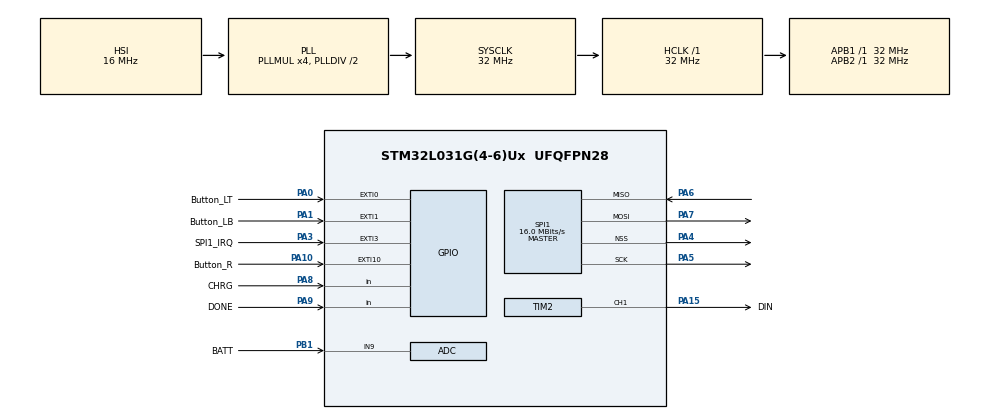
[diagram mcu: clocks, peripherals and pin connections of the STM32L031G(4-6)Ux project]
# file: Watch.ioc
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Dma.Request0=TIM2_CH1
Dma.TIM2_CH1.0.Direction=DMA_MEMORY_TO_PERIPH
Dma.TIM2_CH1.0.Instance=DMA1_Channel5
Dma.TIM2_CH1.0.MemDataAlignment=DMA_MDATAALIGN_HALFWORD
Dma.TIM2_CH1.0.MemInc=DMA_MINC_ENABLE
Dma.TIM2_CH1.0.Mode=DMA_CIRCULAR
Dma.TIM2_CH1.0.PeriphDataAlignment=DMA_PDATAALIGN_WORD
Dma.TIM2_CH1.0.PeriphInc=DMA_PINC_DISABLE
Dma.TIM2_CH1.0.Priority=DMA_PRIORITY_VERY_HIGH
Mcu.Family=STM32L0
Mcu.Name=STM32L031G(4-6)Ux
Mcu.Package=UFQFPN28
NVIC.DMA1_Channel4_5_6_7_IRQn=true\:2\:0\:true\:false\:true\:false\:true\:true
NVIC.EXTI0_1_IRQn=true\:0\:0\:false\:false\:true\:true\:true\:true
NVIC.EXTI2_3_IRQn=true\:0\:0\:false\:false\:true\:true\:true\:true
NVIC.EXTI4_15_IRQn=true\:0\:0\:false\:false\:true\:true\:true\:true
NVIC.RTC_IRQn=true\:1\:0\:true\:false\:true\:true\:true\:true
PA0-CK_IN.GPIO_Label=Button_LT
PA0-CK_IN.Signal=GPXTI0
PA1.GPIO_Label=Button_LB
PA1.Signal=GPXTI1
PA10.GPIO_Label=Button_R
PA10.Signal=GPXTI10
PA13.Mode=Serial_Wire
PA13.Signal=SYS_SWDIO
PA14.Mode=Serial_Wire
PA14.Signal=SYS_SWCLK
PA15.GPIO_Label=DIN
PA15.Signal=S_TIM2_CH1
PA3.GPIO_Label=SPI1_IRQ
PA3.Signal=GPXTI3
PA4.Mode=NSS_Signal_Hard_Output
PA4.Signal=SPI1_NSS
PA5.Mode=Full_Duplex_Master
PA5.Signal=SPI1_SCK
PA6.Mode=Full_Duplex_Master
PA6.Signal=SPI1_MISO
PA7.Mode=Full_Duplex_Master
PA7.Signal=SPI1_MOSI
PA8.GPIO_Label=CHRG
PA8.Signal=GPIO_Input
PA9.GPIO_Label=DONE
PA9.Signal=GPIO_Input
PB1.GPIO_Label=BATT
PB1.Mode=IN9
PB1.Signal=ADC_IN9
PC14-OSC32_IN.Mode=LSE-External-Oscillator
PC14-OSC32_IN.Signal=RCC_OSC32_IN
PC15-OSC32_OUT.Mode=LSE-External-Oscillator
PC15-OSC32_OUT.Signal=RCC_OSC32_OUT
ProjectManager.HeapSize=0x200
ProjectManager.StackSize=0x400
ProjectManager.TargetToolchain=STM32CubeIDE
RCC.AHBFreq_Value=32000000
RCC.APB1Freq_Value=32000000
RCC.APB1TimFreq_Value=32000000
RCC.APB2Freq_Value=32000000
RCC.APB2TimFreq_Value=32000000
RCC.HCLKFreq_Value=32000000
RCC.HSE_VALUE=8000000
RCC.HSI16_VALUE=16000000
RCC.HSI_VALUE=16000000
RCC.MSI_VALUE=2097000
RCC.PLLMUL=RCC_PLLMUL_4
RCC.RTCClockSelection=RCC_RTCCLKSOURCE_LSE
RCC.RTCClockSelectionVirtual=RCC_RTCCLKSOURCE_LSE
RCC.SYSCLKFreq_VALUE=32000000
RCC.SYSCLKSource=RCC_SYSCLKSOURCE_PLLCLK
RCC.VCOOutputFreq_Value=64000000
RTC.HourFormat=RTC_HOURFORMAT_24
RTC.WakeUpClock-WakeUp=RTC_WAKEUPCLOCK_CK_SPRE_16BITS
RTC.WakeUpCounter-WakeUp=10
SH.S_TIM2_CH1.0=TIM2_CH1,PWM Generation1 CH1
SPI1.CalculateBaudRate=16.0 MBits/s
SPI1.Direction=SPI_DIRECTION_2LINES
SPI1.Mode=SPI_MODE_MASTER
SPI1.VirtualNSS=VM_NSSHARD
SPI1.VirtualType=VM_MASTER
TIM2.AutoReloadPreload=TIM_AUTORELOAD_PRELOAD_DISABLE
TIM2.Channel-PWM\ Generation1\ CH1=TIM_CHANNEL_1
TIM2.OC1Preload_PWM=ENABLE
TIM2.OCFastMode_PWM-PWM\ Generation1\ CH1=TIM_OCFAST_ENABLE
TIM2.OCMode_PWM-PWM\ Generation1\ CH1=TIM_OCMODE_PWM1
TIM2.OCPolarity_1=TIM_OCPOLARITY_HIGH
TIM2.Period=60
TIM2.Prescaler=0
TIM2.Pulse-PWM\ Generation1\ CH1=0
VP_RTC_VS_RTC_Activate.Mode=RTC_Enabled
VP_RTC_VS_RTC_WakeUp_intern.Mode=WakeUp
VP_TIM2_VS_ClockSourceINT.Mode=Internal
board=custom

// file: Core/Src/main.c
/* USER CODE BEGIN Header */
/**
  ******************************************************************************
  * @file           : main.c
  * @brief          : Main program body
  ******************************************************************************
  * @attention
  *
  * Copyright (c) 2024 STMicroelectronics.
  * All rights reserved.
  *
  * This software is licensed under terms that can be found in the LICENSE file
  * in the root directory of this software component.
  * If no LICENSE file comes with this software, it is provided AS-IS.
  *
  ******************************************************************************
  */
/* USER CODE END Header */
#include "main.h"

/* USER CODE BEGIN Includes */
#include "Din_LED.h"
#include "stdbool.h"
/* USER CODE END Includes */

ADC_HandleTypeDef hadc;

RTC_HandleTypeDef hrtc;

SPI_HandleTypeDef hspi1;

TIM_HandleTypeDef htim2;
DMA_HandleTypeDef hdma_tim2_ch1;

/* USER CODE BEGIN PV */
#define MAX_LED 12
LEDs leds [MAX_LED + 3];
rgb_color led_pattern[MAX_LED];
rgb_color time_pattern[MAX_LED];
rgb_color all_pattern[MAX_LED];
rgb_color null_pattern[MAX_LED];
rgb_color none = {0, 0, 0, 0};
rgb_color all = {255, 255, 255, 0};
/* USER CODE END PV */

void SystemClock_Config(void);
static void MX_GPIO_Init(void);
static void MX_DMA_Init(void);
static void MX_SPI1_Init(void);
static void MX_TIM2_Init(void);
static void MX_ADC_Init(void);
static void MX_RTC_Init(void);

/* USER CODE BEGIN 0 */
uint16_t minutes = 30;
uint16_t hours = 6;
uint8_t am = 0;
uint16_t shifted_hours = 0;
uint16_t shifted_minutes = 6;
bool showingLeds = false;
bool changeTime = false;
bool toggler = false;
/* USER CODE END 0 */

int main(void)
{

  /* USER CODE BEGIN 1 */
	rgb_color hour_color = {250, 0, 0, 4};
	rgb_color minut_color = {0, 0, 250, 4};
	rgb_color red = {250, 0, 0, 4};
	rgb_color blue = {0, 0, 250, 4};
	rgb_color green = {0, 250, 0, 4};
  /* USER CODE END 1 */

  /* MCU Configuration--------------------------------------------------------*/

  /* Reset of all peripherals, Initializes the Flash interface and the Systick. */
  HAL_Init();

  /* Configure the system clock */
  SystemClock_Config();

  /* Initialize all configured peripherals */
  MX_GPIO_Init();
  MX_DMA_Init();
  MX_SPI1_Init();
  MX_TIM2_Init();
  MX_ADC_Init();
  MX_RTC_Init();
  /* USER CODE BEGIN 2 */

  for (int i = 0; i < 12; i++) {
	  led_pattern[i] = none;
	  time_pattern[i] = none;
	  null_pattern[i] = none;
	  all_pattern[i] = all;
	  if (i%3==0) {
		  led_pattern[i] = blue;
	  } else if (i%3==1) {
		  led_pattern[i] = green;
	  } else {
		  led_pattern[i] = red;
	  }
  }
  time_pattern[shifted_hours] = hour_color;
  time_pattern[shifted_minutes] = minut_color;
  //int x = 0;
  //bool isPressed = false;
  /* USER CODE END 2 */

  /* Infinite loop */
  /* USER CODE BEGIN WHILE */
  while (1)
  {

	 /* HAL_SuspendTick();
	  HAL_PWR_EnterSTOPMode(PWR_LOWPOWERREGULATOR_ON, PWR_STOPENTRY_WFI);
	  HAL_ResumeTick();
*/

	  if (showingLeds) {
		  int x = 0;
		  bool shouldExitIf = false;

		  while (HAL_GPIO_ReadPin(Button_R_GPIO_Port, Button_R_Pin)) {
			  x++;
			  if (x >= 200) {
				  changeTime = true;
				  shouldExitIf = true;
				  break;
			  }
			  HAL_Delay(10);
		  }
		  if (!shouldExitIf) {

			  if (shifted_hours==shifted_minutes) {
				  for (int i = 0; i < 5; i++) {
					  if (toggler) {
						  time_pattern[shifted_hours] = hour_color;
					  } else {
						  time_pattern[shifted_minutes] = minut_color;
					  }
					  toggler = !toggler;

					  turn_spec_LEDs(leds, time_pattern);
					  HAL_TIM_PWM_Start_DMA(&htim2, TIM_CHANNEL_1, (uint32_t *)leds, (MAX_LED * 24) + 72);
					  HAL_Delay(500);
					  turn_spec_LEDs(leds, null_pattern);
					  HAL_TIM_PWM_Start_DMA(&htim2, TIM_CHANNEL_1, (uint32_t *)leds, (MAX_LED * 24) + 72);
					  HAL_Delay(500);

					  clear_LEDs(leds, MAX_LED);
					  HAL_TIM_PWM_Start_DMA(&htim2, TIM_CHANNEL_1, (uint32_t *)leds, (MAX_LED * 24) + 72);
					  HAL_Delay(50);
				  }
			  } else {
				  time_pattern[shifted_hours] = hour_color;
				  time_pattern[shifted_minutes] = minut_color;

				  turn_spec_LEDs(leds, time_pattern);
				  HAL_TIM_PWM_Start_DMA(&htim2, TIM_CHANNEL_1, (uint32_t *)leds, (MAX_LED * 24) + 72);
				  HAL_Delay(5000);

				  turn_spec_LEDs(leds, null_pattern);
				  HAL_TIM_PWM_Start_DMA(&htim2, TIM_CHANNEL_1, (uint32_t *)leds, (MAX_LED * 24) + 72);
				  HAL_Delay(50);
			  }
		  	  showingLeds = false;
		  }
	  }

	  while(changeTime) {
		  time_pattern[shifted_hours] = hour_color;
		  time_pattern[shifted_minutes] = minut_color;
		  if (shifted_hours==shifted_minutes) {
			  if (toggler) {
				  time_pattern[shifted_hours] = hour_color;
			  } else {
				  time_pattern[shifted_minutes] = minut_color;
			  }
			  toggler = !toggler;
		  }
		  turn_spec_LEDs(leds, time_pattern);
		  HAL_TIM_PWM_Start_DMA(&htim2, TIM_CHANNEL_1, (uint32_t *)leds, (MAX_LED * 24) + 72);
		  HAL_Delay(500);
		  clear_LEDs(leds, MAX_LED);
		  HAL_TIM_PWM_Start_DMA(&htim2, TIM_CHANNEL_1, (uint32_t *)leds, (MAX_LED * 24) + 72);
		  HAL_Delay(500);
	  }

	  // Enter Stop Mode
	  __HAL_RCC_DMA1_CLK_DISABLE();
	  TIM2 ->CCR1 = 0;
	  HAL_SuspendTick();

	  HAL_PWR_EnableSleepOnExit();

	  HAL_PWR_EnterSTOPMode(PWR_LOWPOWERREGULATOR_ON, PWR_STOPENTRY_WFI);
    /* USER CODE END WHILE */

  }
}

void SystemClock_Config(void)
{
  RCC_OscInitTypeDef RCC_OscInitStruct = {0};
  RCC_ClkInitTypeDef RCC_ClkInitStruct = {0};
  RCC_PeriphCLKInitTypeDef PeriphClkInit = {0};

  /** Configure the main internal regulator output voltage
  */
  __HAL_PWR_VOLTAGESCALING_CONFIG(PWR_REGULATOR_VOLTAGE_SCALE1);

  /** Configure LSE Drive Capability
  */
  HAL_PWR_EnableBkUpAccess();
  __HAL_RCC_LSEDRIVE_CONFIG(RCC_LSEDRIVE_LOW);

  /** Initializes the RCC Oscillators according to the specified parameters
  * in the RCC_OscInitTypeDef structure.
  */
  RCC_OscInitStruct.OscillatorType = RCC_OSCILLATORTYPE_HSI|RCC_OSCILLATORTYPE_LSE;
  RCC_OscInitStruct.LSEState = RCC_LSE_ON;
  RCC_OscInitStruct.HSIState = RCC_HSI_ON;
  RCC_OscInitStruct.HSICalibrationValue = RCC_HSICALIBRATION_DEFAULT;
  RCC_OscInitStruct.PLL.PLLState = RCC_PLL_ON;
  RCC_OscInitStruct.PLL.PLLSource = RCC_PLLSOURCE_HSI;
  RCC_OscInitStruct.PLL.PLLMUL = RCC_PLLMUL_4;
  RCC_OscInitStruct.PLL.PLLDIV = RCC_PLLDIV_2;
  if (HAL_RCC_OscConfig(&RCC_OscInitStruct) != HAL_OK)
  {
    Error_Handler();
  }

  /** Initializes the CPU, AHB and APB buses clocks
  */
  RCC_ClkInitStruct.ClockType = RCC_CLOCKTYPE_HCLK|RCC_CLOCKTYPE_SYSCLK
                              |RCC_CLOCKTYPE_PCLK1|RCC_CLOCKTYPE_PCLK2;
  RCC_ClkInitStruct.SYSCLKSource = RCC_SYSCLKSOURCE_PLLCLK;
  RCC_ClkInitStruct.AHBCLKDivider = RCC_SYSCLK_DIV1;
  RCC_ClkInitStruct.APB1CLKDivider = RCC_HCLK_DIV1;
  RCC_ClkInitStruct.APB2CLKDivider = RCC_HCLK_DIV1;

  if (HAL_RCC_ClockConfig(&RCC_ClkInitStruct, FLASH_LATENCY_1) != HAL_OK)
  {
    Error_Handler();
  }
  PeriphClkInit.PeriphClockSelection = RCC_PERIPHCLK_RTC;
  PeriphClkInit.RTCClockSelection = RCC_RTCCLKSOURCE_LSE;
  if (HAL_RCCEx_PeriphCLKConfig(&PeriphClkInit) != HAL_OK)
  {
    Error_Handler();
  }
}

static void MX_ADC_Init(void)
{

  ADC_ChannelConfTypeDef sConfig = {0};

  /** Configure the global features of the ADC (Clock, Resolution, Data Alignment and number of conversion)
  */
  hadc.Instance = ADC1;
  hadc.Init.OversamplingMode = DISABLE;
  hadc.Init.ClockPrescaler = ADC_CLOCK_SYNC_PCLK_DIV2;
  hadc.Init.Resolution = ADC_RESOLUTION_12B;
  hadc.Init.SamplingTime = ADC_SAMPLETIME_1CYCLE_5;
  hadc.Init.ScanConvMode = ADC_SCAN_DIRECTION_FORWARD;
  hadc.Init.DataAlign = ADC_DATAALIGN_RIGHT;
  hadc.Init.ContinuousConvMode = DISABLE;
  hadc.Init.DiscontinuousConvMode = DISABLE;
  hadc.Init.ExternalTrigConvEdge = ADC_EXTERNALTRIGCONVEDGE_NONE;
  hadc.Init.ExternalTrigConv = ADC_SOFTWARE_START;
  hadc.Init.DMAContinuousRequests = DISABLE;
  hadc.Init.EOCSelection = ADC_EOC_SINGLE_CONV;
  hadc.Init.Overrun = ADC_OVR_DATA_PRESERVED;
  hadc.Init.LowPowerAutoWait = DISABLE;
  hadc.Init.LowPowerFrequencyMode = DISABLE;
  hadc.Init.LowPowerAutoPowerOff = DISABLE;
  if (HAL_ADC_Init(&hadc) != HAL_OK)
  {
    Error_Handler();
  }

  /** Configure for the selected ADC regular channel to be converted.
  */
  sConfig.Channel = ADC_CHANNEL_9;
  sConfig.Rank = ADC_RANK_CHANNEL_NUMBER;
  if (HAL_ADC_ConfigChannel(&hadc, &sConfig) != HAL_OK)
  {
    Error_Handler();
  }

}

static void MX_RTC_Init(void)
{

  /** Initialize RTC Only
  */
  hrtc.Instance = RTC;
  hrtc.Init.HourFormat = RTC_HOURFORMAT_24;
  hrtc.Init.AsynchPrediv = 127;
  hrtc.Init.SynchPrediv = 255;
  hrtc.Init.OutPut = RTC_OUTPUT_DISABLE;
  hrtc.Init.OutPutRemap = RTC_OUTPUT_REMAP_NONE;
  hrtc.Init.OutPutPolarity = RTC_OUTPUT_POLARITY_HIGH;
  hrtc.Init.OutPutType = RTC_OUTPUT_TYPE_OPENDRAIN;
  if (HAL_RTC_Init(&hrtc) != HAL_OK)
  {
    Error_Handler();
  }

}

static void MX_SPI1_Init(void)
{

  /* SPI1 parameter configuration*/
  hspi1.Instance = SPI1;
  hspi1.Init.Mode = SPI_MODE_MASTER;
  hspi1.Init.Direction = SPI_DIRECTION_2LINES;
  hspi1.Init.DataSize = SPI_DATASIZE_8BIT;
  hspi1.Init.CLKPolarity = SPI_POLARITY_LOW;
  hspi1.Init.CLKPhase = SPI_PHASE_1EDGE;
  hspi1.Init.NSS = SPI_NSS_HARD_OUTPUT;
  hspi1.Init.BaudRatePrescaler = SPI_BAUDRATEPRESCALER_2;
  hspi1.Init.FirstBit = SPI_FIRSTBIT_MSB;
  hspi1.Init.TIMode = SPI_TIMODE_DISABLE;
  hspi1.Init.CRCCalculation = SPI_CRCCALCULATION_DISABLE;
  hspi1.Init.CRCPolynomial = 7;
  if (HAL_SPI_Init(&hspi1) != HAL_OK)
  {
    Error_Handler();
  }

}

static void MX_TIM2_Init(void)
{

  TIM_ClockConfigTypeDef sClockSourceConfig = {0};
  TIM_MasterConfigTypeDef sMasterConfig = {0};
  TIM_OC_InitTypeDef sConfigOC = {0};

  htim2.Instance = TIM2;
  htim2.Init.Prescaler = 0;
  htim2.Init.CounterMode = TIM_COUNTERMODE_UP;
  htim2.Init.Period = 60;
  htim2.Init.ClockDivision = TIM_CLOCKDIVISION_DIV1;
  htim2.Init.AutoReloadPreload = TIM_AUTORELOAD_PRELOAD_DISABLE;
  if (HAL_TIM_Base_Init(&htim2) != HAL_OK)
  {
    Error_Handler();
  }
  sClockSourceConfig.ClockSource = TIM_CLOCKSOURCE_INTERNAL;
  if (HAL_TIM_ConfigClockSource(&htim2, &sClockSourceConfig) != HAL_OK)
  {
    Error_Handler();
  }
  if (HAL_TIM_PWM_Init(&htim2) != HAL_OK)
  {
    Error_Handler();
  }
  sMasterConfig.MasterOutputTrigger = TIM_TRGO_RESET;
  sMasterConfig.MasterSlaveMode = TIM_MASTERSLAVEMODE_DISABLE;
  if (HAL_TIMEx_MasterConfigSynchronization(&htim2, &sMasterConfig) != HAL_OK)
  {
    Error_Handler();
  }
  sConfigOC.OCMode = TIM_OCMODE_PWM1;
  sConfigOC.Pulse = 0;
  sConfigOC.OCPolarity = TIM_OCPOLARITY_HIGH;
  sConfigOC.OCFastMode = TIM_OCFAST_ENABLE;
  if (HAL_TIM_PWM_ConfigChannel(&htim2, &sConfigOC, TIM_CHANNEL_1) != HAL_OK)
  {
    Error_Handler();
  }
  HAL_TIM_MspPostInit(&htim2);

}

static void MX_DMA_Init(void)
{

  /* DMA controller clock enable */
  __HAL_RCC_DMA1_CLK_ENABLE();

  /* DMA interrupt init */
  /* DMA1_Channel4_5_6_7_IRQn interrupt configuration */
  HAL_NVIC_SetPriority(DMA1_Channel4_5_6_7_IRQn, 2, 0);
  HAL_NVIC_EnableIRQ(DMA1_Channel4_5_6_7_IRQn);

}

static void MX_GPIO_Init(void)
{
  GPIO_InitTypeDef GPIO_InitStruct = {0};

  /* GPIO Ports Clock Enable */
  __HAL_RCC_GPIOC_CLK_ENABLE();
  __HAL_RCC_GPIOA_CLK_ENABLE();
  __HAL_RCC_GPIOB_CLK_ENABLE();

  /*Configure GPIO pins : Button_LT_Pin Button_LB_Pin SPI1_IRQ_Pin Button_R_Pin */
  GPIO_InitStruct.Pin = Button_LT_Pin|Button_LB_Pin|SPI1_IRQ_Pin|Button_R_Pin;
  GPIO_InitStruct.Mode = GPIO_MODE_IT_RISING;
  GPIO_InitStruct.Pull = GPIO_NOPULL;
  HAL_GPIO_Init(GPIOA, &GPIO_InitStruct);

  /*Configure GPIO pins : CHRG_Pin DONE_Pin */
  GPIO_InitStruct.Pin = CHRG_Pin|DONE_Pin;
  GPIO_InitStruct.Mode = GPIO_MODE_INPUT;
  GPIO_InitStruct.Pull = GPIO_NOPULL;
  HAL_GPIO_Init(GPIOA, &GPIO_InitStruct);

  /* EXTI interrupt init*/
  HAL_NVIC_SetPriority(EXTI0_1_IRQn, 0, 0);
  HAL_NVIC_EnableIRQ(EXTI0_1_IRQn);

  HAL_NVIC_SetPriority(EXTI2_3_IRQn, 0, 0);
  HAL_NVIC_EnableIRQ(EXTI2_3_IRQn);

  HAL_NVIC_SetPriority(EXTI4_15_IRQn, 0, 0);
  HAL_NVIC_EnableIRQ(EXTI4_15_IRQn);

}

/* USER CODE BEGIN 4 */
void HAL_GPIO_EXTI_Callback(uint16_t GPIO_Pin) {
	//SystemClock_Config();
	//HAL_ResumeTick();
	SystemClock_Config();
	HAL_ResumeTick();
	HAL_PWR_DisableSleepOnExit();
	__HAL_RCC_DMA1_CLK_ENABLE();
	TIM2 ->CCR1 = 60;
	if (GPIO_Pin == Button_LB_Pin) {
		showingLeds = true;
		if (changeTime) {
			hours++;
			if (hours >= 12) {
				hours = 0;
			}
			shifted_hours = (hours<6) ? hours+6 : hours-6;
			if (shifted_hours == 0) {
				time_pattern[11] = none;
			} else {
				time_pattern[shifted_hours-1] = none;
			}
		}
    }
    if (GPIO_Pin == Button_LT_Pin) {
		showingLeds = true;
		if (changeTime) {
			minutes+=5;
			if (minutes >= 60) {
				minutes = 0;
			}
			shifted_minutes = minutes/5;
			if (shifted_minutes == 0) {
				time_pattern[11] = none;
			} else {
				time_pattern[shifted_minutes-1] = none;
			}
		}
	}
    if (GPIO_Pin == Button_R_Pin) {
    	showingLeds = true;
    	if (changeTime) {
    		changeTime = false;
    		showingLeds = false;
    		if (HAL_RTCEx_SetWakeUpTimer_IT(&hrtc, 300, RTC_WAKEUPCLOCK_CK_SPRE_16BITS) != HAL_OK)
    		{
    			Error_Handler();
    		}
    	}
	}

    //HAL_SuspendTick();
    //HAL_PWR_EnterSTOPMode(PWR_LOWPOWERREGULATOR_ON, PWR_STOPENTRY_WFI);
}
void HAL_RTCEx_WakeUpTimerEventCallback(RTC_HandleTypeDef *hrtc) {
	/*
	SystemClock_Config();
	HAL_ResumeTick();
	HAL_PWR_DisableSleepOnExit();
	clear_LEDs(leds, MAX_LED);
	HAL_TIM_PWM_Start_DMA(&htim2, TIM_CHANNEL_1, (uint32_t *)leds, (MAX_LED * 24) + 72);
	HAL_Delay(50);
	*/
    minutes+=5;
	if (minutes >= 60) {
		minutes = 0;

	} else if (minutes == 30) {
		hours++;
		if (hours >= 12) {
			hours = 0;
		}
		shifted_hours = (hours<6) ? hours+6 : hours-6;
		if (shifted_hours == 0) {
			time_pattern[11] = none;
		} else {
			time_pattern[shifted_hours-1] = none;
		}
	}

	if (minutes == 0) {
		time_pattern[11] = none;
		shifted_minutes = 0;
	} else {
		shifted_minutes = minutes/5;
		time_pattern[shifted_minutes-1] = none;
	}
}
/* USER CODE END 4 */

void Error_Handler(void)
{
  __disable_irq();
  while (1)
  {
  }
}
